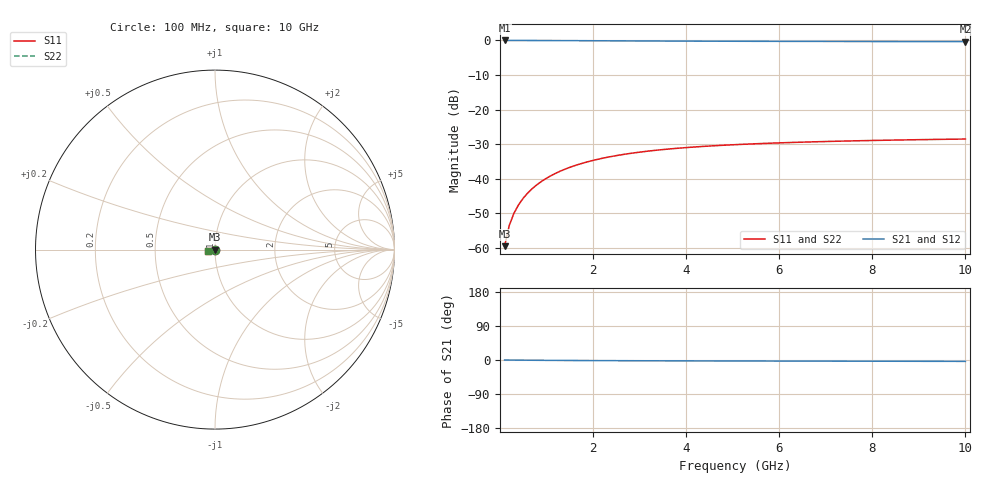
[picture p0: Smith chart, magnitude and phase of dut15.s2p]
! Touchstone file exported from HFSS 2024.1.0
!  File:  C:/UserFiles/LocalFiles/RDL_TSV_Batchsim/temp_TSV1_15_1779368588.aedt
!  Generated:  09:08:27 PM May 21, 2026
!  Design:  TSV1
!  Project:  temp_TSV1_15_1779368588
!  Setup:  Setup1
!  Solution:  Sweep
! Variables:
!  dtsv = 13.07um
!  hbump = 3um
!  htsv = 52.8um
!  lrdl = 252.1521522um
!  p = 40
!  p1 = 48.98um
!  t = 500um
!  trdl = 3um
!  wrdl = 24.89489489um
# GHz S MA R 50.000000
! Terminal data exported
! Port[1] = TSV22_T1
! Port[2] = TSV22_T2
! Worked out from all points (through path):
!   100 points, 100 MHz to 10 GHz, reference 50 ohm
!   highest |S21| = 0.00 dB at 100 MHz (marker M1); lowest = -0.3 dB at 10 GHz (marker M2)
!   lowest |S11| = -59.5 dB at 100 MHz (marker M3), VSWR 1.00, Z = 50 - j0.106 ohm
!   |S11| at or under -10 dB: start of sweep to end of sweep
!   |S22| runs from -59.5 to -28.5 dB; largest |S21 - S12| = 5.1e-15
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0.1  0.001059 -87.9  0.9999 -0.1  0.9999 -0.1  0.001059 -87.9
! Gamma 0 0 0 0
! Port Impedance 50 0 50 0
0.2  0.002113 -91.5  0.9998 -0.2  0.9998 -0.2  0.002113 -91.5
0.3  0.003162 -93.9  0.9996 -0.3  0.9996 -0.3  0.003162 -93.9
0.4  0.004204 -95.9  0.9994 -0.4  0.9994 -0.4  0.004204 -95.9
0.5  0.005236 -97.7  0.9991 -0.5  0.9991 -0.5  0.005236 -97.7
0.6  0.006257 -99.5  0.9988 -0.6  0.9988 -0.6  0.006257 -99.5
0.7  0.007263 -101.3  0.9984 -0.6  0.9984 -0.6  0.007263 -101.3
0.8  0.008254 -103.0  0.9979 -0.7  0.9979 -0.7  0.008254 -103.0
0.9  0.009226 -104.6  0.9974 -0.8  0.9974 -0.8  0.009226 -104.6
1.1  0.01111 -107.8  0.9963 -1.0  0.9963 -1.0  0.01111 -107.8
1.4  0.01377 -112.4  0.9944 -1.2  0.9944 -1.2  0.01377 -112.4
1.6  0.01542 -115.2  0.9931 -1.3  0.9931 -1.3  0.01542 -115.2
1.8  0.01697 -118.0  0.9917 -1.4  0.9917 -1.4  0.01697 -118.0
2.1  0.0191 -121.8  0.9896 -1.6  0.9896 -1.6  0.0191 -121.8
2.5  0.02161 -126.5  0.9869 -1.8  0.9869 -1.8  0.02161 -126.5
2.9  0.02376 -130.8  0.9843 -1.9  0.9843 -1.9  0.02376 -130.8
3.4  0.02602 -135.4  0.9813 -2.1  0.9813 -2.1  0.02602 -135.4
4.2  0.02886 -141.7  0.9772 -2.4  0.9772 -2.4  0.02885 -141.7
5.1  0.03122 -147.4  0.9734 -2.6  0.9734 -2.6  0.03122 -147.4
6.7  0.03413 -155.3  0.9685 -2.9  0.9685 -2.9  0.03413 -155.3
8.4  0.03618 -161.8  0.9651 -3.3  0.9651 -3.3  0.03618 -161.8
10  0.03752 -166.8  0.9628 -3.6  0.9628 -3.6  0.03752 -166.8
